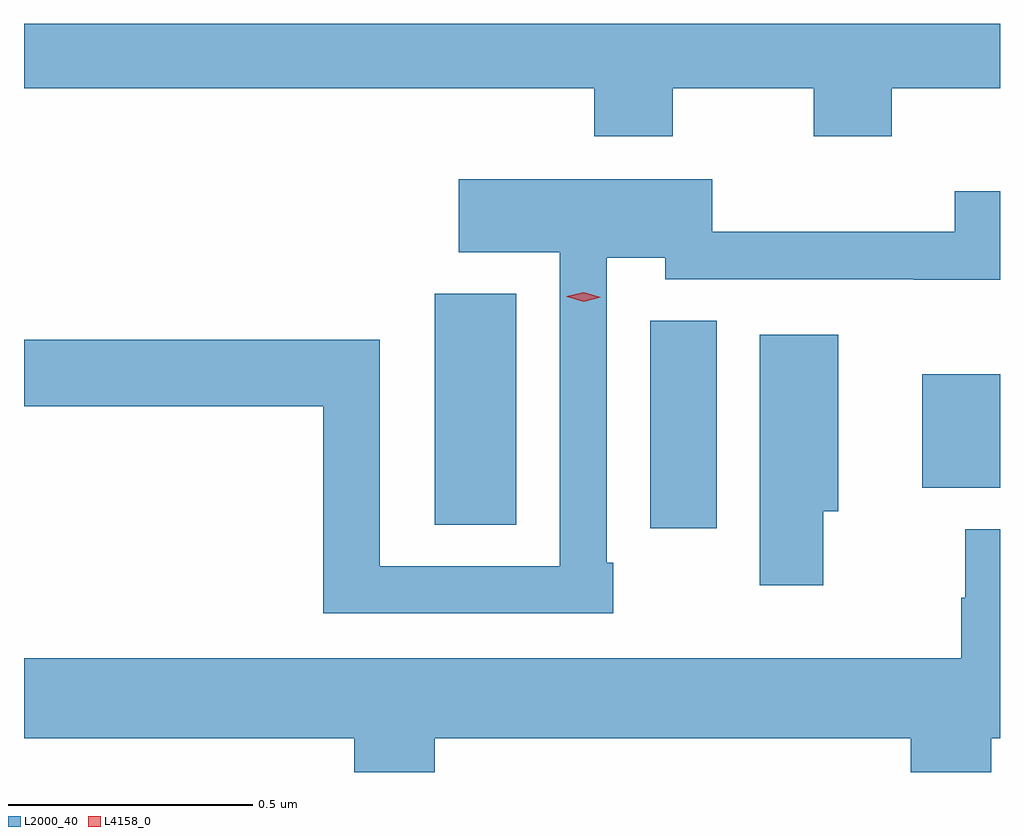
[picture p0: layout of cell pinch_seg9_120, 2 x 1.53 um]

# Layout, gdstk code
import gdstk
lib = gdstk.Library(unit=1e-6, precision=1e-09)
def R(c, l, rs):  # rectangles x0, y0, x1, y1
    for r in rs: c.add(gdstk.rectangle(r[:2], r[2:], *l))
def P(c, l, *ps):  # polygons
    for p in ps: c.add(gdstk.Polygon(p, *l))
L2000_40 = (2000, 40)
L4158_0 = (4158, 0)

pinch_seg9_120 = lib.new_cell('pinch_seg9_120')
R(pinch_seg9_120, L2000_40, [(847.121,1247.466,847.258,1247.891), (846.68,1247.473,846.847,1247.947), (847.679,1247.549,847.838,1247.782)])
P(pinch_seg9_120, L2000_40, [(847.167,1248.368),(847.456,1248.368),(847.456,1248.269),(847.616,1248.269),(847.616,1248.368),(847.838,1248.368),(847.838,1248.5),(845.838,1248.5),(845.838,1248.368),(847.007,1248.368),(847.007,1248.269),(847.167,1248.269)],
  [(847.045,1247.395),(847.032,1247.395),(847.032,1248.02),(847.152,1248.02),(847.152,1247.976),(847.661,1247.976),(847.661,1247.975),(847.838,1247.975),(847.838,1248.157),(847.745,1248.157),(847.745,1248.074),(847.248,1248.074),(847.248,1248.181),(846.729,1248.181),(846.729,1248.032),(846.936,1248.032),(846.936,1247.388),(846.567,1247.388),(846.567,1247.852),(845.838,1247.852),(845.838,1247.716),(846.451,1247.716),(846.451,1247.292),(847.045,1247.292)],
  [(847.476,1247.501),(847.507,1247.501),(847.507,1247.863),(847.346,1247.863),(847.346,1247.349),(847.476,1247.349)],
  [(846.68,1247.036),(847.655,1247.036),(847.655,1246.966),(847.82,1246.966),(847.82,1247.036),(847.838,1247.036),(847.838,1247.464),(847.767,1247.464),(847.767,1247.324),(847.759,1247.324),(847.759,1247.2),(845.838,1247.2),(845.838,1247.036),(846.515,1247.036),(846.515,1246.966),(846.68,1246.966)])
P(pinch_seg9_120, L4158_0, [(846.985,1247.93),(846.95,1247.94),(846.95,1247.941),(846.95,1247.941),(846.985,1247.95),(847.02,1247.939),(847.02,1247.939),(847.02,1247.939)])

lib.write_gds('pinch_seg9_120.gds')
